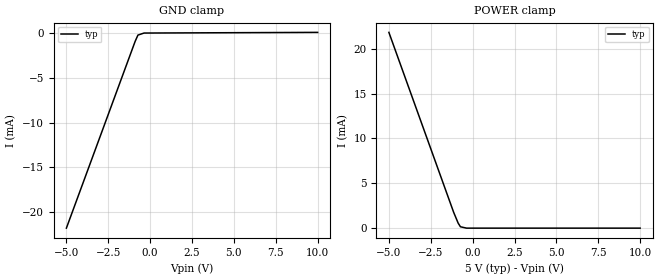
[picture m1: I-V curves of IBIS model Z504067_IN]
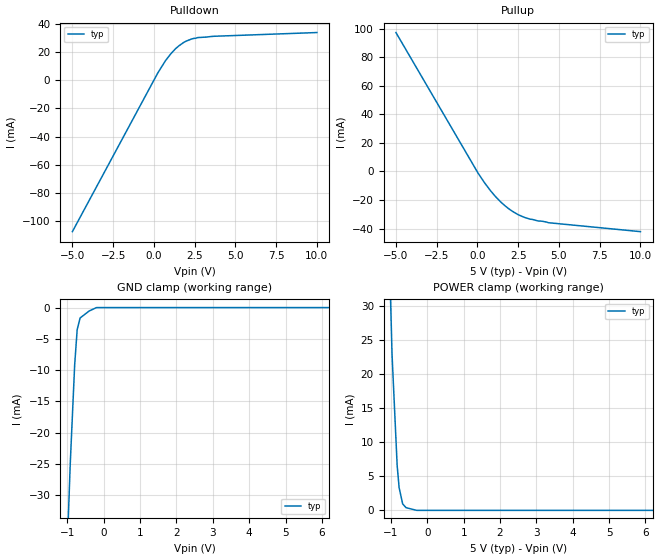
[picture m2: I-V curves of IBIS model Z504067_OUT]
| YOU ARE ONLY AUTHORIZED TO USE THIS SOFTWARE
| ACCORDING TO LICENSOR'S LICENSE RESTRICTIONS.
[IBIS Ver] 3.1
[File Name] mc54hc158j.ibs
[File Rev] 2.0
[Source] Measured and created by ICX Technology
[Date] Friday 7/14/00 9:08:06 AM
[Copyright]
| (C) COPYRIGHT 1993-2000
| MENTOR GRAPHICS CORPORATION
| ICX STANDARD LIBRARY, ICX PROJECT MODELING,
| ICX CUSTOM MODELING, ICX VENDOR MODEL
| ALL RIGHTS RESERVED.
| THE FOLLOWING ARE TRADEMARKS OR SERVICE MARKS OF
| MENTOR GRAPHICS CORPORATION:ICX (R), ICX STANDARD
| LIBRARY(R), ICX PROJECT MODELING(R), ICX CUSTOM
| MODELING(R), qualityIBIS(TM), MODELVIEWER(TM),
| AND MODELEDITOR(TM)
| ALL COPIES OF SOFTWARE, INCLUDING BUT NOT LIMITED TO
| ANY MODIFICATIONS, ENHANCEMENTS OR DERIVATIVE WORKS,
| MUST CONTAIN ALL MENTOR GRAPHICS CORPORATION'S
| NOTICES AND LEGENDS, INCLUDING THOSE EMBEDDED IN
| SOFTWARE AND THOSE AFFIXED TO SOFTWARE MEDIUM
| AND CONTAINER, AS RECEIVED FROM MENTOR GRAPHICS
| CORPORATION.
|  ZAP Model Builder 2.7
[Component] MC54HC158J
[Manufacturer] OnSemiconductor
[Package]
| variable   typ   min   max
R_pkg  .212ohms NA NA
L_pkg  4.758nH NA NA
C_pkg  1.944pF NA NA
[Pin] signal_name  model_name  R_pin  L_pin C_pin
1 B_A Z504067_IN .224 7.258n 2.683p
2 A0 Z504067_IN .216 5.258n 2.19p
3 B0 Z504067_IN .208 3.758n 1.697p
4 _Y0 Z504067_OUT .2 2.758n 1.204p
5 A1 Z504067_IN .2 2.758n 1.204p
6 B1 Z504067_IN .208 3.758n 1.697p
7 _Y1 Z504067_OUT .216 5.258n 2.19p
8 GROUND GND .224 7.258n 2.683p
9 _Y2 Z504067_OUT .224 7.258n 2.683p
10 B2 Z504067_IN .216 5.258n 2.19p
11 A2 Z504067_IN .208 3.758n 1.697p
12 _Y3 Z504067_OUT .2 2.758n 1.204p
13 B3 Z504067_IN .2 2.758n 1.204p
14 A3 Z504067_IN .208 3.758n 1.697p
15 _G Z504067_IN .216 5.258n 2.19p
16 VCC POWER .224 7.258n 2.683p
| Models and submodels in the file (2): Z504067_IN (Input), Z504067_OUT (Output)
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| (C) COPYRIGHT 1993-2000
| MENTOR GRAPHICS CORPORATION
| ICX STANDARD LIBRARY, ICX PROJECT MODELING,
| ICX CUSTOM MODELING, ICX VENDOR MODEL
| ALL RIGHTS RESERVED.
| THE FOLLOWING ARE TRADEMARKS OR SERVICE MARKS OF
| MENTOR GRAPHICS CORPORATION:ICX (R), ICX STANDARD
| LIBRARY(R), ICX PROJECT MODELING(R), ICX CUSTOM
| MODELING(R), qualityIBIS(TM), MODELVIEWER(TM),
| AND MODELEDITOR(TM)
| ALL COPIES OF SOFTWARE, INCLUDING BUT NOT LIMITED TO
| ANY MODIFICATIONS, ENHANCEMENTS OR DERIVATIVE WORKS,
| MUST CONTAIN ALL MENTOR GRAPHICS CORPORATION'S
| NOTICES AND LEGENDS, INCLUDING THOSE EMBEDDED IN
| SOFTWARE AND THOSE AFFIXED TO SOFTWARE MEDIUM
| AND CONTAINER, AS RECEIVED FROM MENTOR GRAPHICS
| CORPORATION.
| Model Application Version 1.89 2/18/99.
[Model] Z504067_IN
Model_type Input
Vinl = 1.000V
Vinh = 3.500V
C_comp 4.000pF NA NA
| variable typ   min   max
[Voltage Range] 5.000V NA NA
[GND Clamp Reference] 0.000V NA NA
[POWER Clamp Reference] 5.000V NA NA
[GND Clamp]
-5V       -21.75mA   NA         NA
-898.3mV  -979.9uA   NA         NA
-728.6mV  -264.6uA   NA         NA
-364.3mV  -36.18uA   NA         NA
10V       38.95uA    NA         NA
[POWER Clamp]
-5V       21.83mA    NA         NA
-1.133V   1.763mA    NA         NA
-866mV    565.9uA    NA         NA
-729mV    153.7uA    NA         NA
-364.5mV  0A         NA         NA
10V       0A         NA         NA
| (C) COPYRIGHT 1993-2000
| MENTOR GRAPHICS CORPORATION
| ICX STANDARD LIBRARY, ICX PROJECT MODELING,
| ICX CUSTOM MODELING, ICX VENDOR MODEL
| ALL RIGHTS RESERVED.
| THE FOLLOWING ARE TRADEMARKS OR SERVICE MARKS OF
| MENTOR GRAPHICS CORPORATION:ICX (R), ICX STANDARD
| LIBRARY(R), ICX PROJECT MODELING(R), ICX CUSTOM
| MODELING(R), qualityIBIS(TM), MODELVIEWER(TM),
| AND MODELEDITOR(TM)
| ALL COPIES OF SOFTWARE, INCLUDING BUT NOT LIMITED TO
| ANY MODIFICATIONS, ENHANCEMENTS OR DERIVATIVE WORKS,
| MUST CONTAIN ALL MENTOR GRAPHICS CORPORATION'S
| NOTICES AND LEGENDS, INCLUDING THOSE EMBEDDED IN
| SOFTWARE AND THOSE AFFIXED TO SOFTWARE MEDIUM
| AND CONTAINER, AS RECEIVED FROM MENTOR GRAPHICS
| CORPORATION.
| Model Application Version 1.89 2/18/99.
[Model] Z504067_OUT
Model_type Output
Vref=0.000V
Rref=500.0Mohms
Cref=50.00pF
Vmeas=2.500V
C_comp 8.000pF NA NA
| variable typ   min   max
[Voltage Range] 5.000V NA NA
[POWER Clamp Reference] 5.000V NA NA
[Pullup Reference] 5.000V NA NA
[Pulldown Reference] 0.000V NA NA
[GND Clamp Reference] 0.000V NA NA
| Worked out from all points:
|   slope of the pulldown table from 0 to 0.75 V, typ, clamps not added: 51.9 ohm
|   slope of the pullup table from 0 to 0.75 V, typ, clamps not added: 61.1 ohm
|   POWER clamp passes 1 mA (typ) near -0.68 V on its own axis
[GND Clamp]
-5V       -1.203A    NA         NA
-1.245V   -88.49mA   NA         NA
-1.073V   -49.47mA   NA         NA
-922mV    -24.94mA   NA         NA
-800.8mV  -9.194mA   NA         NA
-732.1mV  -3.543mA   NA         NA
-650.9mV  -1.66mA    NA         NA
-400.4mV  -543.8uA   NA         NA
-200.2mV  0A         NA         NA
10V       0A         NA         NA
[Pulldown]
-5V       -107.5mA   NA         NA
242.8mV   5.302mA    NA         NA
709.3mV   13.92mA    NA         NA
1.025V    18.68mA    NA         NA
1.536V    24.53mA    NA         NA
2.014V    28.07mA    NA         NA
2.69V     30.39mA    NA         NA
3.725V    31.32mA    NA         NA
10V       33.96mA    NA         NA
[Pullup]
-5V       97.21mA    NA         NA
39mV      -1.213mA   NA         NA
806mV     -13.58mA   NA         NA
1.08V     -17.26mA   NA         NA
1.693V    -24.07mA   NA         NA
2.149V    -27.95mA   NA         NA
2.683V    -31.24mA   NA         NA
3.716V    -34.67mA   NA         NA
4.354V    -35.9mA    NA         NA
10V       -42.15mA   NA         NA
[POWER Clamp]
-5V       1.215A     NA         NA
-1.133V   55.36mA    NA         NA
-971mV    22.94mA    NA         NA
-830mV    6.59mA     NA         NA
-776mV    3.335mA    NA         NA
-679mV    949.2uA    NA         NA
-586mV    395.7uA    NA         NA
-293mV    0A         NA         NA
10V       0A         NA         NA
[Ramp]
| variable typ min max
dV/dt_r 2.700/2.001n NA NA
dV/dt_f 2.700/1.839n NA NA
R_load = 500.0Ohms
